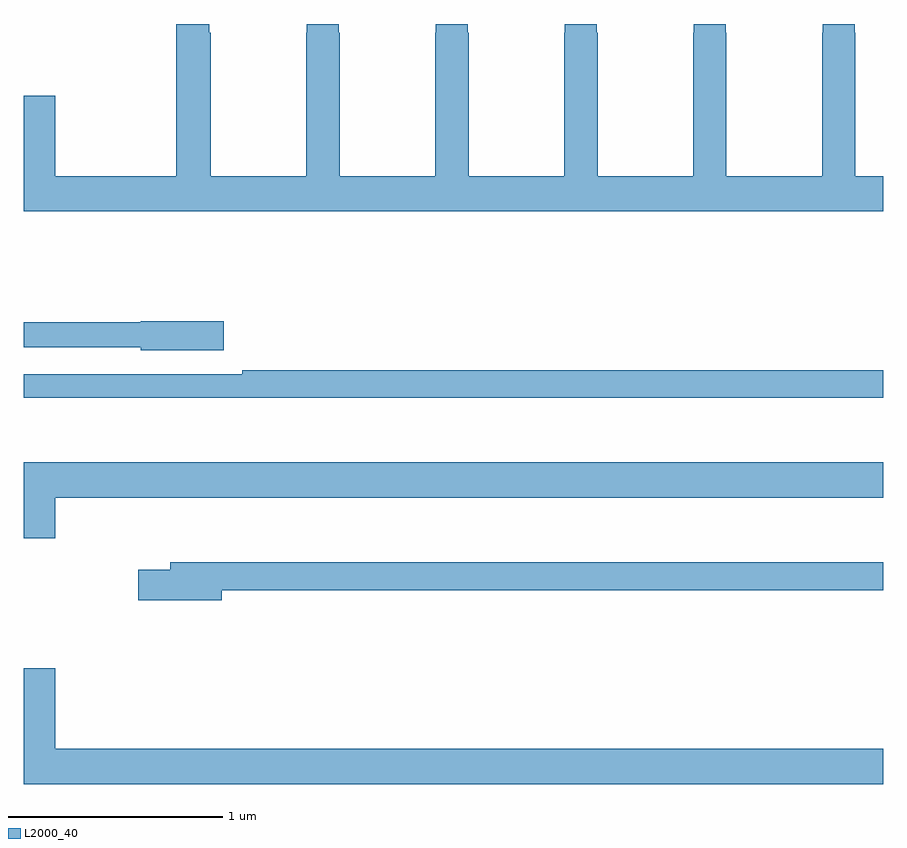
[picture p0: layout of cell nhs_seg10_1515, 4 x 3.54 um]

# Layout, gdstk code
import gdstk
lib = gdstk.Library(unit=1e-6, precision=1e-09)
def P(c, l, *ps):  # polygons
    for p in ps: c.add(gdstk.Polygon(p, *l))
L2000_40 = (2000, 40)

nhs_seg10_1515 = lib.new_cell('nhs_seg10_1515')
P(nhs_seg10_1515, L2000_40, [(192.267,1322.459),(192.267,1322.5),(192.117,1322.5),(192.117,1322.459),(192.115,1322.459),(192.115,1321.792),(191.67,1321.792),(191.67,1322.459),(191.667,1322.459),(191.667,1322.5),(191.517,1322.5),(191.517,1322.459),(191.515,1322.459),(191.515,1321.792),(191.07,1321.792),(191.07,1322.459),(191.067,1322.459),(191.067,1322.5),(190.917,1322.5),(190.917,1322.459),(190.915,1322.459),(190.915,1321.792),(190.47,1321.792),(190.47,1322.459),(190.467,1322.459),(190.467,1322.5),(190.317,1322.5),(190.317,1322.459),(190.315,1322.459),(190.315,1321.792),(189.87,1321.792),(189.87,1322.459),(189.863,1322.459),(189.863,1322.5),(189.71,1322.5),(189.71,1321.792),(189.148,1321.792),(189.148,1322.167),(189,1322.167),(189,1321.628),(193,1321.628),(193,1321.792),(192.87,1321.792),(192.87,1322.459),(192.867,1322.459),(192.867,1322.5),(192.717,1322.5),(192.717,1322.459),(192.715,1322.459),(192.715,1321.792),(192.27,1321.792),(192.27,1322.459)],
  [(189.931,1321.118),(189.546,1321.118),(189.546,1321.112),(189,1321.112),(189,1320.996),(189.546,1320.996),(189.546,1320.983),(189.931,1320.983)],
  [(193,1320.89),(190.018,1320.89),(190.018,1320.87),(189,1320.87),(189,1320.762),(193,1320.762)],
  [(189.148,1320.296),(193,1320.296),(193,1320.46),(189,1320.46),(189,1320.108),(189.148,1320.108)],
  [(189.922,1319.866),(193,1319.866),(193,1319.995),(189.683,1319.995),(189.683,1319.961),(189.534,1319.961),(189.534,1319.819),(189.922,1319.819)],
  [(193,1319.128),(189.148,1319.128),(189.148,1319.503),(189,1319.503),(189,1318.964),(193,1318.964)])

lib.write_gds('nhs_seg10_1515.gds')
